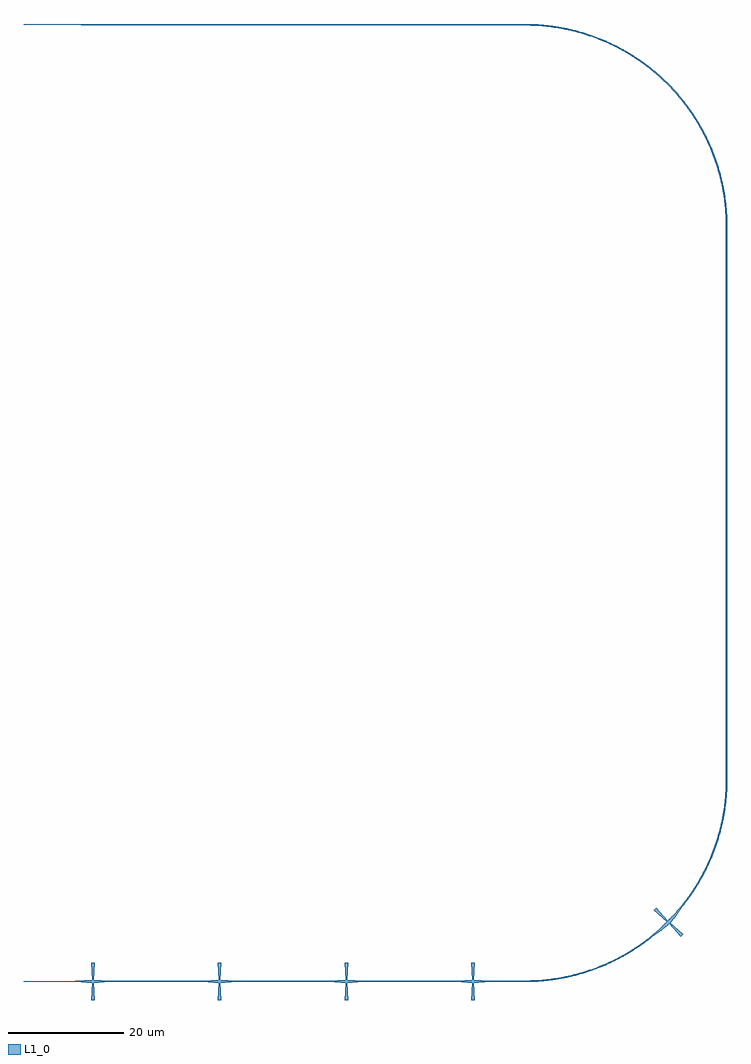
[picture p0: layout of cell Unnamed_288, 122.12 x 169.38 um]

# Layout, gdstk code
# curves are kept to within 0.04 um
from math import pi, radians
import gdstk
lib = gdstk.Library(unit=1e-6, precision=1e-09)
def P(c, l, *ps):  # polygons
    for p in ps: c.add(gdstk.Polygon(p, *l))
L1_0 = (1, 0)

taper_l10_w0p08_w0p25_p_ = lib.new_cell('taper_L10_W0p08_W0p25_P_fed8ac8b')
P(taper_l10_w0p08_w0p25_p_, L1_0, [(10,-0.125),(0,-0.04),(0,0.04),(10,0.125)])

unnamed_289 = lib.new_cell('Unnamed_289')
P(unnamed_289, L1_0, [(0,-0.125),(0,0.125),(77.757,0.133),(80.277,0.279),(82.78,0.607),(85.006,1.056),(87.44,1.724),(88.638,2.124),(90.054,2.66),(91.216,3.154),(92.585,3.801),(93.704,4.385),(95.017,5.14),(96.086,5.811),(97.335,6.667),(98.546,7.577),(99.717,8.538),(101.571,10.251),(102.45,11.156),(103.462,12.283),(104.423,13.454),(105.185,14.46),(105.91,15.493),(106.729,16.767),(107.97,18.965),(108.53,20.096),(109.147,21.479),(109.616,22.651),(110.121,24.079),(110.564,25.527),(110.885,26.748),(111.211,28.227),(111.434,29.47),(111.744,31.974),(111.842,33.486),(111.875,35),(111.875,131),(111.784,133.522),(111.67,134.779),(111.473,136.281),(111.211,137.773),(110.944,139.006),(110.632,140.229),(110.199,141.681),(109.791,142.875),(109.244,144.288),(108.637,145.675),(108.085,146.81),(107.37,148.145),(106.729,149.233),(105.91,150.507),(105.185,151.54),(104.423,152.546),(103.462,153.717),(102.277,155.028),(101.21,156.103),(100.097,157.13),(98.941,158.108),(97.54,159.185),(96.297,160.05),(94.801,160.99),(93.482,161.735),(91.904,162.53),(90.521,163.147),(88.875,163.791),(87.44,164.276),(85.986,164.698),(84.514,165.056),(82.78,165.393),(81.281,165.611),(79.018,165.817),(77,165.875),(0,165.875),(0,166.125),(77,166.125),(78.779,166.08),(81.059,165.89),(83.072,165.596),(85.064,165.187),(87.029,164.663),(88.96,164.026),(90.852,163.278),(92.697,162.423),(94.709,161.334),(96.646,160.117),(98.299,158.931),(99.879,157.651),(101.384,156.283),(102.806,154.829),(104.303,153.098),(105.536,151.481),(106.673,149.795),(107.711,148.046),(108.647,146.24),(109.572,144.148),(110.278,142.24),(110.873,140.296),(111.406,138.071),(111.758,136.067),(111.993,134.047),(112.092,132.525),(112.125,131),(112.125,35),(112.092,33.475),(111.945,31.446),(111.681,29.43),(111.3,27.432),(110.735,25.215),(110.112,23.279),(109.278,21.148),(108.423,19.303),(107.334,17.291),(106.398,15.777),(105.236,14.108),(103.98,12.509),(102.806,11.171),(101.384,9.717),(100.072,8.515),(98.5,7.224),(96.857,6.026),(95.364,5.058),(93.6,4.045),(92.011,3.244),(90.148,2.428),(88.24,1.722),(86.296,1.127),(84.319,0.646),(82.57,0.319),(80.047,0.007),(78.525,-0.092),(77.254,-0.124)])

taper_l3_w0p25_w0p6_pno_ = lib.new_cell('taper_L3_W0p25_W0p6_PNo_16a215aa')
P(taper_l3_w0p25_w0p6_pno_, L1_0, [(3,-0.3),(0,-0.125),(0,0.125),(3,0.3)])

unnamed_291 = lib.new_cell('Unnamed_291')
P(unnamed_291, L1_0, [(0,-0.3),(0,0.3),(2.319,0.287),(3.629,0.418),(3.664,0.221),(1.338,-0.2)])

unnamed_290 = lib.new_cell('Unnamed_290')
unnamed_290.add(gdstk.Reference(unnamed_291, (0,0)))

unnamed_288 = lib.new_cell('Unnamed_288')
unnamed_288.add(gdstk.Reference(taper_l10_w0p08_w0p25_p_, (0,-17)))
unnamed_288.add(gdstk.Reference(unnamed_289, (10,-17)))
unnamed_288.add(gdstk.Reference(taper_l10_w0p08_w0p25_p_, (0,149)))
unnamed_288.add(gdstk.Reference(taper_l3_w0p25_w0p6_pno_, (12,-16.75), rotation=pi/2))
unnamed_288.add(gdstk.Reference(taper_l3_w0p25_w0p6_pno_, (12,-17.25), rotation=3*pi/2))
unnamed_288.add(gdstk.Reference(taper_l3_w0p25_w0p6_pno_, (9,-17)))
unnamed_288.add(gdstk.Reference(taper_l3_w0p25_w0p6_pno_, (15,-17), rotation=pi))
unnamed_288.add(gdstk.Reference(taper_l3_w0p25_w0p6_pno_, (34,-16.75), rotation=pi/2))
unnamed_288.add(gdstk.Reference(taper_l3_w0p25_w0p6_pno_, (34,-17.25), rotation=3*pi/2))
unnamed_288.add(gdstk.Reference(taper_l3_w0p25_w0p6_pno_, (31,-17)))
unnamed_288.add(gdstk.Reference(taper_l3_w0p25_w0p6_pno_, (37,-17), rotation=pi))
unnamed_288.add(gdstk.Reference(taper_l3_w0p25_w0p6_pno_, (56,-16.75), rotation=pi/2))
unnamed_288.add(gdstk.Reference(taper_l3_w0p25_w0p6_pno_, (56,-17.25), rotation=3*pi/2))
unnamed_288.add(gdstk.Reference(taper_l3_w0p25_w0p6_pno_, (53,-17)))
unnamed_288.add(gdstk.Reference(taper_l3_w0p25_w0p6_pno_, (59,-17), rotation=pi))
unnamed_288.add(gdstk.Reference(taper_l3_w0p25_w0p6_pno_, (78,-16.75), rotation=pi/2))
unnamed_288.add(gdstk.Reference(taper_l3_w0p25_w0p6_pno_, (78,-17.25), rotation=3*pi/2))
unnamed_288.add(gdstk.Reference(taper_l3_w0p25_w0p6_pno_, (75,-17)))
unnamed_288.add(gdstk.Reference(taper_l3_w0p25_w0p6_pno_, (81,-17), rotation=pi))
unnamed_288.add(gdstk.Reference(unnamed_290, (111.921,-6.749), rotation=radians(45)))
unnamed_288.add(gdstk.Reference(unnamed_290, (111.921,-6.749), rotation=radians(225), x_reflection=True))
unnamed_288.add(gdstk.Reference(taper_l3_w0p25_w0p6_pno_, (112.121,-6.949), rotation=radians(315)))
unnamed_288.add(gdstk.Reference(taper_l3_w0p25_w0p6_pno_, (111.721,-6.549), rotation=radians(135)))

lib.write_gds('Unnamed_288.gds')
